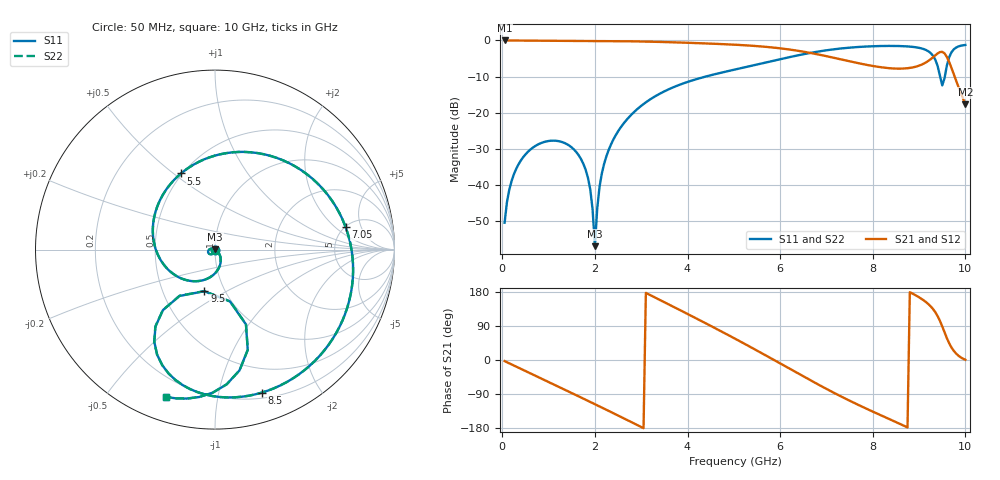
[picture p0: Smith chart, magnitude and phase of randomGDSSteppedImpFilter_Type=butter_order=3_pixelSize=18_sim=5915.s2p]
! freq	dB(S11)	phase(S11)	dB(S12)	phase(S12)
!  dB(S21)	phase(S21)	dB(S22)	phase(S22)
!S-par simulation data
#  GHz  S  DB  R 50
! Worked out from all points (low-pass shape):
!   200 points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, 50 MHz to 10 GHz, reference 50 ohm
!   highest |S21| = -0.01 dB at 50 MHz (marker M1); lowest = -17.7 dB at 10 GHz (marker M2)
!   |S21| within 3 dB of the highest: start of sweep to 6.455 GHz
!   lowest |S11| = -56.8 dB at 2 GHz (marker M3), VSWR 1.00, Z = 50.1 + j0.123 ohm
!   |S11| at or under -10 dB: start of sweep to 4.386 GHz; 9.455 GHz to 9.556 GHz (101.4 MHz wide, 1.07 % of centre)
!   |S22| runs from -58.6 to -1.3 dB; largest |S21 - S12| = 0
!   S11 on the Smith chart (normalised r, x): 50 MHz: 1.00, -0.01; 5.5 GHz: 0.49, +0.53; 7.05 GHz: 5.04, +2.80; 8.5 GHz: 0.25, -1.35; 9.5 GHz: 0.80, -0.39; 10 GHz: 0.11, -0.71
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0.05  -50.36 -82.8  -0.01 -2.9  -0.01 -2.9  -50.35 -82.8
0.25  -36.99 -102.8  -0.03 -14.6  -0.03 -14.6  -36.99 -102.8
0.65  -29.71 -128.1  -0.05 -37.8  -0.05 -37.8  -29.71 -128.0
1.3  -28.11 -167.2  -0.10 -75.5  -0.10 -75.5  -28.11 -167.0
1.75  -34.07 164.4  -0.12 -101.8  -0.12 -101.8  -34.08 165.2
1.9  -41.18 151.2  -0.13 -110.7  -0.13 -110.7  -41.21 153.2
2  -56.83 58.4  -0.14 -116.6  -0.14 -116.6  -58.64 54.5
2.1  -40.39 -25.9  -0.14 -122.5  -0.14 -122.5  -40.43 -28.1
2.3  -30.16 -42.9  -0.16 -134.5  -0.16 -134.5  -30.16 -43.6
3.4  -14.72 -111.5  -0.41 158.7  -0.41 158.7  -14.72 -111.8
4.25  -10.48 -164.5  -0.76 105.9  -0.76 105.9  -10.48 -164.7
5.05  -7.96 144.0  -1.20 54.7  -1.20 54.7  -7.96 143.9
5.5  -6.66 114.0  -1.57 24.9  -1.57 24.9  -6.65 113.9
6.05  -5.04 76.5  -2.26 -12.5  -2.26 -12.5  -5.04 76.4
6.7  -3.34 32.5  -3.57 -56.6  -3.57 -56.6  -3.34 32.5
7.05  -2.63 9.9  -4.49 -79.5  -4.49 -79.5  -2.63 9.8
8.35  -1.52 -64.1  -7.66 -155.5  -7.66 -155.5  -1.52 -64.1
8.5  -1.53 -71.9  -7.78 -163.8  -7.78 -163.8  -1.53 -72.0
9.25  -3.49 -118.8  -5.18 141.6  -5.18 141.6  -3.49 -118.8
9.5  -12.42 -104.3  -3.16 88.8  -3.16 88.8  -12.45 -104.3
9.65  -4.62 -71.9  -5.97 44.1  -5.97 44.1  -4.63 -71.9
10  -1.26 -108.5  -17.68 0.5  -17.68 0.5  -1.26 -108.5
